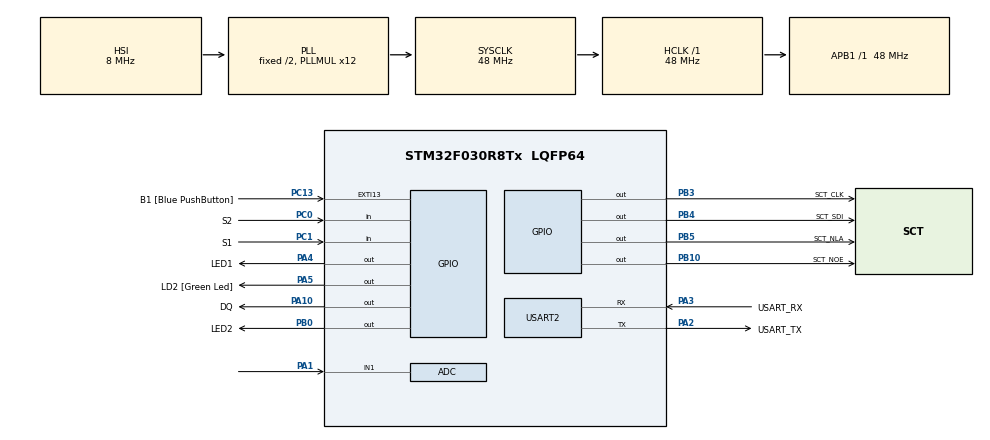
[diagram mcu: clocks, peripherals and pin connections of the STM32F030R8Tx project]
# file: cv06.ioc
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ADC.ContinuousConvMode=ENABLE
ADC.Overrun=ADC_OVR_DATA_OVERWRITTEN
ADC.Resolution=ADC_RESOLUTION_10B
Mcu.Family=STM32F0
Mcu.Name=STM32F030R8Tx
Mcu.Package=LQFP64
PA1.Mode=IN1
PA1.Signal=ADC_IN1
PA10.GPIO_Label=DQ
PA10.GPIO_ModeDefaultOutputPP=GPIO_MODE_OUTPUT_OD
PA10.GPIO_PuPd=GPIO_NOPULL
PA10.PinState=GPIO_PIN_SET
PA10.Signal=GPIO_Output
PA13.GPIO_Label=TMS
PA13.Mode=Serial_Wire
PA13.Signal=SYS_SWDIO
PA14.GPIO_Label=TCK
PA14.Mode=Serial_Wire
PA14.Signal=SYS_SWCLK
PA2.GPIO_Label=USART_TX
PA2.GPIO_Mode=GPIO_MODE_AF_PP
PA2.GPIO_PuPd=GPIO_NOPULL
PA2.GPIO_Speed=GPIO_SPEED_FREQ_LOW
PA2.Mode=Asynchronous
PA2.Signal=USART2_TX
PA3.GPIO_Label=USART_RX
PA3.GPIO_Mode=GPIO_MODE_AF_PP
PA3.GPIO_PuPd=GPIO_NOPULL
PA3.GPIO_Speed=GPIO_SPEED_FREQ_LOW
PA3.Mode=Asynchronous
PA3.Signal=USART2_RX
PA4.GPIO_Label=LED1
PA4.Signal=GPIO_Output
PA5.GPIO_Label=LD2 [Green Led]
PA5.GPIO_Mode=GPIO_MODE_OUTPUT_PP
PA5.GPIO_PuPd=GPIO_NOPULL
PA5.GPIO_Speed=GPIO_SPEED_FREQ_LOW
PA5.Signal=GPIO_Output
PB0.GPIO_Label=LED2
PB0.Signal=GPIO_Output
PB10.GPIO_Label=SCT_NOE
PB10.Signal=GPIO_Output
PB3.GPIO_Label=SCT_CLK
PB3.Signal=GPIO_Output
PB4.GPIO_Label=SCT_SDI
PB4.Signal=GPIO_Output
PB5.GPIO_Label=SCT_NLA
PB5.Signal=GPIO_Output
PC0.GPIO_Label=S2
PC0.GPIO_PuPd=GPIO_PULLUP
PC0.Signal=GPIO_Input
PC1.GPIO_Label=S1
PC1.GPIO_PuPd=GPIO_PULLUP
PC1.Signal=GPIO_Input
PC13.GPIO_Label=B1 [Blue PushButton]
PC13.GPIO_ModeDefaultEXTI=GPIO_MODE_IT_FALLING
PC13.Signal=GPXTI13
PC14-OSC32_IN.Mode=LSE-External-Oscillator
PC14-OSC32_IN.Signal=RCC_OSC32_IN
PC15-OSC32_OUT.Mode=LSE-External-Oscillator
PC15-OSC32_OUT.Signal=RCC_OSC32_OUT
PF0-OSC_IN.Mode=HSE-External-Clock-Source
PF0-OSC_IN.Signal=RCC_OSC_IN
PF1-OSC_OUT.Signal=RCC_OSC_OUT
ProjectManager.HeapSize=0x200
ProjectManager.StackSize=0x400
ProjectManager.TargetToolchain=STM32CubeIDE
RCC.AHBFreq_Value=48000000
RCC.APB1Freq_Value=48000000
RCC.APB1TimFreq_Value=48000000
RCC.HCLKFreq_Value=48000000
RCC.PLLMUL=RCC_PLL_MUL12
RCC.SYSCLKFreq_VALUE=48000000
RCC.SYSCLKSource=RCC_SYSCLKSOURCE_PLLCLK
USART2.VirtualMode-Asynchronous=VM_ASYNC
board=NUCLEO-F030R8

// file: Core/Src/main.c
/* USER CODE BEGIN Header */
/**
  ******************************************************************************
  * @file           : main.c
  * @brief          : Main program body
  ******************************************************************************
  * @attention
  *
  * Copyright (c) 2024 STMicroelectronics.
  * All rights reserved.
  *
  * This software is licensed under terms that can be found in the LICENSE file
  * in the root directory of this software component.
  * If no LICENSE file comes with this software, it is provided AS-IS.
  *
  ******************************************************************************
  */
/* USER CODE END Header */
#include "main.h"

/* USER CODE BEGIN Includes */
#include "sct.h"
#include "1wire.h"

/* USER CODE END Includes */

/* USER CODE BEGIN PD */
#define CONVERT_T_DELAY 750
/* USER CODE END PD */

ADC_HandleTypeDef hadc;

UART_HandleTypeDef huart2;

void SystemClock_Config(void);
static void MX_GPIO_Init(void);
static void MX_USART2_UART_Init(void);
static void MX_ADC_Init(void);

int main(void)
{

  /* MCU Configuration--------------------------------------------------------*/

  /* Reset of all peripherals, Initializes the Flash interface and the Systick. */
  HAL_Init();

  /* Configure the system clock */
  SystemClock_Config();

  /* Initialize all configured peripherals */
  MX_GPIO_Init();
  MX_USART2_UART_Init();
  MX_ADC_Init();
  /* USER CODE BEGIN 2 */
  sct_init();
  OWInit();
  HAL_ADCEx_Calibration_Start(&hadc);
  HAL_ADC_Start(&hadc);
  /* USER CODE END 2 */

  /* Infinite loop */
  while (1)
  {

	  /* USER CODE BEGIN 3 */

	  static int16_t temp;
	  static uint32_t ADC_value;
	  static const int16_t ntc_lookup[] = {
          #include "data.dlm"
	  };
	  static uint32_t delay;

	  static enum { DS, NTC } state = DS;

//	  OWConvertAll();
	  ADC_value = HAL_ADC_GetValue(&hadc);

	  if(HAL_GPIO_ReadPin(S1_GPIO_Port, S1_Pin) == 0){
		  state = DS;
		  delay = HAL_GetTick();
	  }

	  if(HAL_GPIO_ReadPin(S2_GPIO_Port, S2_Pin) == 0){
		  state = NTC;
		  delay = HAL_GetTick();
	  }

	  switch (state){
	  case DS:
		  if (HAL_GetTick() > delay + 750) {
			  HAL_GPIO_WritePin(LED2_GPIO_Port, LED2_Pin, 1);
			  HAL_GPIO_WritePin(LED1_GPIO_Port, LED1_Pin, 0);

//			  HAL_Delay(CONVERT_T_DELAY);
			  OWConvertAll();
			  OWReadTemperature(&temp);
			  sct_value(temp / 10, 0);
		  }
		  break;

	  case NTC:
		  if (HAL_GetTick() > delay + 50) {
			  HAL_GPIO_WritePin(LED1_GPIO_Port, LED1_Pin, 1);
			  HAL_GPIO_WritePin(LED2_GPIO_Port, LED2_Pin, 0);

//			  HAL_Delay(50);
			  sct_value(ntc_lookup[ADC_value], 0);
		  }
		  break;
	  }

  }
  /* USER CODE END 3 */
}

void SystemClock_Config(void)
{
  RCC_OscInitTypeDef RCC_OscInitStruct = {0};
  RCC_ClkInitTypeDef RCC_ClkInitStruct = {0};

  /** Initializes the RCC Oscillators according to the specified parameters
  * in the RCC_OscInitTypeDef structure.
  */
  RCC_OscInitStruct.OscillatorType = RCC_OSCILLATORTYPE_HSI|RCC_OSCILLATORTYPE_HSI14;
  RCC_OscInitStruct.HSIState = RCC_HSI_ON;
  RCC_OscInitStruct.HSI14State = RCC_HSI14_ON;
  RCC_OscInitStruct.HSICalibrationValue = RCC_HSICALIBRATION_DEFAULT;
  RCC_OscInitStruct.HSI14CalibrationValue = 16;
  RCC_OscInitStruct.PLL.PLLState = RCC_PLL_ON;
  RCC_OscInitStruct.PLL.PLLSource = RCC_PLLSOURCE_HSI;
  RCC_OscInitStruct.PLL.PLLMUL = RCC_PLL_MUL12;
  RCC_OscInitStruct.PLL.PREDIV = RCC_PREDIV_DIV1;
  if (HAL_RCC_OscConfig(&RCC_OscInitStruct) != HAL_OK)
  {
    Error_Handler();
  }

  /** Initializes the CPU, AHB and APB buses clocks
  */
  RCC_ClkInitStruct.ClockType = RCC_CLOCKTYPE_HCLK|RCC_CLOCKTYPE_SYSCLK
                              |RCC_CLOCKTYPE_PCLK1;
  RCC_ClkInitStruct.SYSCLKSource = RCC_SYSCLKSOURCE_PLLCLK;
  RCC_ClkInitStruct.AHBCLKDivider = RCC_SYSCLK_DIV1;
  RCC_ClkInitStruct.APB1CLKDivider = RCC_HCLK_DIV1;

  if (HAL_RCC_ClockConfig(&RCC_ClkInitStruct, FLASH_LATENCY_1) != HAL_OK)
  {
    Error_Handler();
  }
}

static void MX_ADC_Init(void)
{

  ADC_ChannelConfTypeDef sConfig = {0};

  /** Configure the global features of the ADC (Clock, Resolution, Data Alignment and number of conversion)
  */
  hadc.Instance = ADC1;
  hadc.Init.ClockPrescaler = ADC_CLOCK_ASYNC_DIV1;
  hadc.Init.Resolution = ADC_RESOLUTION_10B;
  hadc.Init.DataAlign = ADC_DATAALIGN_RIGHT;
  hadc.Init.ScanConvMode = ADC_SCAN_DIRECTION_FORWARD;
  hadc.Init.EOCSelection = ADC_EOC_SINGLE_CONV;
  hadc.Init.LowPowerAutoWait = DISABLE;
  hadc.Init.LowPowerAutoPowerOff = DISABLE;
  hadc.Init.ContinuousConvMode = ENABLE;
  hadc.Init.DiscontinuousConvMode = DISABLE;
  hadc.Init.ExternalTrigConv = ADC_SOFTWARE_START;
  hadc.Init.ExternalTrigConvEdge = ADC_EXTERNALTRIGCONVEDGE_NONE;
  hadc.Init.DMAContinuousRequests = DISABLE;
  hadc.Init.Overrun = ADC_OVR_DATA_OVERWRITTEN;
  if (HAL_ADC_Init(&hadc) != HAL_OK)
  {
    Error_Handler();
  }

  /** Configure for the selected ADC regular channel to be converted.
  */
  sConfig.Channel = ADC_CHANNEL_1;
  sConfig.Rank = ADC_RANK_CHANNEL_NUMBER;
  sConfig.SamplingTime = ADC_SAMPLETIME_1CYCLE_5;
  if (HAL_ADC_ConfigChannel(&hadc, &sConfig) != HAL_OK)
  {
    Error_Handler();
  }

}

static void MX_USART2_UART_Init(void)
{

  huart2.Instance = USART2;
  huart2.Init.BaudRate = 38400;
  huart2.Init.WordLength = UART_WORDLENGTH_8B;
  huart2.Init.StopBits = UART_STOPBITS_1;
  huart2.Init.Parity = UART_PARITY_NONE;
  huart2.Init.Mode = UART_MODE_TX_RX;
  huart2.Init.HwFlowCtl = UART_HWCONTROL_NONE;
  huart2.Init.OverSampling = UART_OVERSAMPLING_16;
  huart2.Init.OneBitSampling = UART_ONE_BIT_SAMPLE_DISABLE;
  huart2.AdvancedInit.AdvFeatureInit = UART_ADVFEATURE_NO_INIT;
  if (HAL_UART_Init(&huart2) != HAL_OK)
  {
    Error_Handler();
  }

}

static void MX_GPIO_Init(void)
{
  GPIO_InitTypeDef GPIO_InitStruct = {0};

  /* GPIO Ports Clock Enable */
  __HAL_RCC_GPIOC_CLK_ENABLE();
  __HAL_RCC_GPIOF_CLK_ENABLE();
  __HAL_RCC_GPIOA_CLK_ENABLE();
  __HAL_RCC_GPIOB_CLK_ENABLE();

  /*Configure GPIO pin Output Level */
  HAL_GPIO_WritePin(GPIOA, LED1_Pin|LD2_Pin, GPIO_PIN_RESET);

  /*Configure GPIO pin Output Level */
  HAL_GPIO_WritePin(GPIOB, LED2_Pin|SCT_NOE_Pin|SCT_CLK_Pin|SCT_SDI_Pin
                          |SCT_NLA_Pin, GPIO_PIN_RESET);

  /*Configure GPIO pin Output Level */
  HAL_GPIO_WritePin(DQ_GPIO_Port, DQ_Pin, GPIO_PIN_SET);

  /*Configure GPIO pin : B1_Pin */
  GPIO_InitStruct.Pin = B1_Pin;
  GPIO_InitStruct.Mode = GPIO_MODE_IT_FALLING;
  GPIO_InitStruct.Pull = GPIO_NOPULL;
  HAL_GPIO_Init(B1_GPIO_Port, &GPIO_InitStruct);

  /*Configure GPIO pins : S2_Pin S1_Pin */
  GPIO_InitStruct.Pin = S2_Pin|S1_Pin;
  GPIO_InitStruct.Mode = GPIO_MODE_INPUT;
  GPIO_InitStruct.Pull = GPIO_PULLUP;
  HAL_GPIO_Init(GPIOC, &GPIO_InitStruct);

  /*Configure GPIO pins : LED1_Pin LD2_Pin */
  GPIO_InitStruct.Pin = LED1_Pin|LD2_Pin;
  GPIO_InitStruct.Mode = GPIO_MODE_OUTPUT_PP;
  GPIO_InitStruct.Pull = GPIO_NOPULL;
  GPIO_InitStruct.Speed = GPIO_SPEED_FREQ_LOW;
  HAL_GPIO_Init(GPIOA, &GPIO_InitStruct);

  /*Configure GPIO pins : LED2_Pin SCT_NOE_Pin SCT_CLK_Pin SCT_SDI_Pin
                           SCT_NLA_Pin */
  GPIO_InitStruct.Pin = LED2_Pin|SCT_NOE_Pin|SCT_CLK_Pin|SCT_SDI_Pin
                          |SCT_NLA_Pin;
  GPIO_InitStruct.Mode = GPIO_MODE_OUTPUT_PP;
  GPIO_InitStruct.Pull = GPIO_NOPULL;
  GPIO_InitStruct.Speed = GPIO_SPEED_FREQ_LOW;
  HAL_GPIO_Init(GPIOB, &GPIO_InitStruct);

  /*Configure GPIO pin : DQ_Pin */
  GPIO_InitStruct.Pin = DQ_Pin;
  GPIO_InitStruct.Mode = GPIO_MODE_OUTPUT_OD;
  GPIO_InitStruct.Pull = GPIO_NOPULL;
  GPIO_InitStruct.Speed = GPIO_SPEED_FREQ_LOW;
  HAL_GPIO_Init(DQ_GPIO_Port, &GPIO_InitStruct);

}

void Error_Handler(void)
{
  __disable_irq();
  while (1)
  {
  }
}
